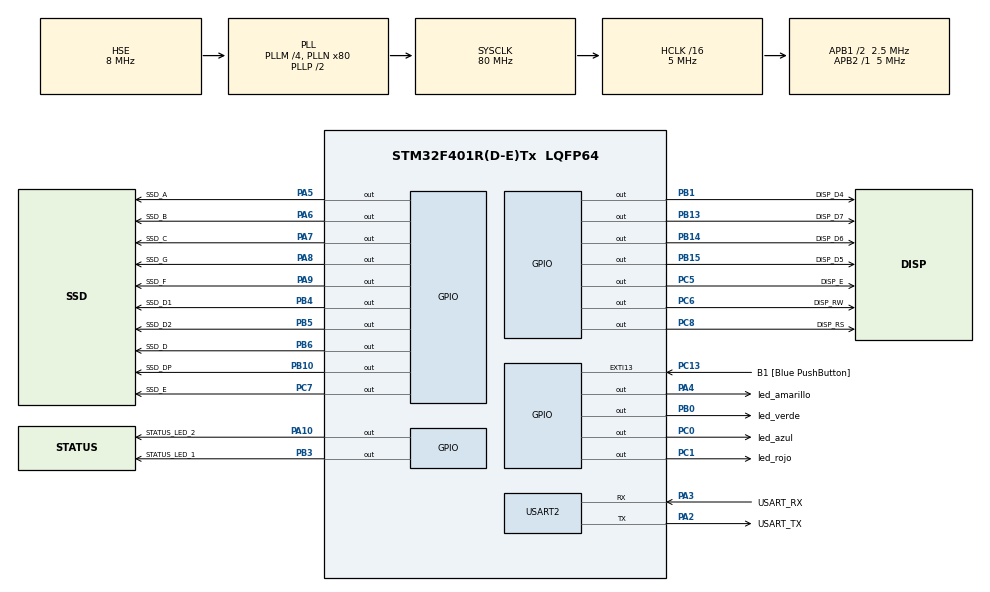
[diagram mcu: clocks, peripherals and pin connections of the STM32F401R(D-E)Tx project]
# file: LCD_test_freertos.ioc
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FREERTOS.Tasks01=defaultTask,24,128,StartDefaultTask,Default,NULL,Dynamic,NULL,NULL
Mcu.Family=STM32F4
Mcu.Name=STM32F401R(D-E)Tx
Mcu.Package=LQFP64
NVIC.PriorityGroup=NVIC_PRIORITYGROUP_4
NVIC.TIM1_UP_TIM10_IRQn=true\:15\:0\:false\:false\:true\:false\:false\:true\:true
NVIC.TimeBase=TIM1_UP_TIM10_IRQn
NVIC.TimeBaseIP=TIM1
PA10.GPIO_Label=STATUS_LED_2
PA10.Signal=GPIO_Output
PA13.GPIO_Label=TMS
PA13.Mode=Serial_Wire
PA13.Signal=SYS_JTMS-SWDIO
PA14.GPIO_Label=TCK
PA14.Mode=Serial_Wire
PA14.Signal=SYS_JTCK-SWCLK
PA2.GPIO_Label=USART_TX
PA2.GPIO_Mode=GPIO_MODE_AF_PP
PA2.GPIO_PuPd=GPIO_NOPULL
PA2.GPIO_Speed=GPIO_SPEED_FREQ_LOW
PA2.Mode=Asynchronous
PA2.Signal=USART2_TX
PA3.GPIO_Label=USART_RX
PA3.GPIO_Mode=GPIO_MODE_AF_PP
PA3.GPIO_PuPd=GPIO_NOPULL
PA3.GPIO_Speed=GPIO_SPEED_FREQ_LOW
PA3.Mode=Asynchronous
PA3.Signal=USART2_RX
PA4.GPIO_Label=led_amarillo
PA4.Signal=GPIO_Output
PA5.GPIO_Label=SSD_A
PA5.GPIO_Mode=GPIO_MODE_OUTPUT_PP
PA5.GPIO_PuPd=GPIO_NOPULL
PA5.GPIO_Speed=GPIO_SPEED_FREQ_LOW
PA5.Signal=GPIO_Output
PA6.GPIO_Label=SSD_B
PA6.Signal=GPIO_Output
PA7.GPIO_Label=SSD_C
PA7.Signal=GPIO_Output
PA8.GPIO_Label=SSD_G
PA8.Signal=GPIO_Output
PA9.GPIO_Label=SSD_F
PA9.Signal=GPIO_Output
PB0.GPIO_Label=led_verde
PB0.Signal=GPIO_Output
PB1.GPIO_Label=DISP_D4
PB1.Signal=GPIO_Output
PB10.GPIO_Label=SSD_DP
PB10.Signal=GPIO_Output
PB13.GPIO_Label=DISP_D7
PB13.Signal=GPIO_Output
PB14.GPIO_Label=DISP_D6
PB14.Signal=GPIO_Output
PB15.GPIO_Label=DISP_D5
PB15.Signal=GPIO_Output
PB3.GPIO_Label=STATUS_LED_1
PB3.Signal=GPIO_Output
PB4.GPIO_Label=SSD_D1
PB4.Signal=GPIO_Output
PB5.GPIO_Label=SSD_D2
PB5.Signal=GPIO_Output
PB6.GPIO_Label=SSD_D
PB6.Signal=GPIO_Output
PC0.GPIO_Label=led_azul
PC0.Signal=GPIO_Output
PC1.GPIO_Label=led_rojo
PC1.Signal=GPIO_Output
PC13-ANTI_TAMP.GPIO_Label=B1 [Blue PushButton]
PC13-ANTI_TAMP.GPIO_ModeDefaultEXTI=GPIO_MODE_IT_FALLING
PC13-ANTI_TAMP.GPIO_PuPd=GPIO_NOPULL
PC13-ANTI_TAMP.Signal=GPXTI13
PC14-OSC32_IN.Mode=LSE-External-Oscillator
PC14-OSC32_IN.Signal=RCC_OSC32_IN
PC15-OSC32_OUT.Mode=LSE-External-Oscillator
PC15-OSC32_OUT.Signal=RCC_OSC32_OUT
PC5.GPIO_Label=DISP_E
PC5.Signal=GPIO_Output
PC6.GPIO_Label=DISP_RW
PC6.Signal=GPIO_Output
PC7.GPIO_Label=SSD_E
PC7.Signal=GPIO_Output
PC8.GPIO_Label=DISP_RS
PC8.Signal=GPIO_Output
PH0\ -\ OSC_IN.Mode=HSE-External-Clock-Source
PH0\ -\ OSC_IN.Signal=RCC_OSC_IN
PH1\ -\ OSC_OUT.Mode=HSE-External-Clock-Source
PH1\ -\ OSC_OUT.Signal=RCC_OSC_OUT
ProjectManager.HeapSize=0x200
ProjectManager.StackSize=0x400
ProjectManager.TargetToolchain=STM32CubeIDE
RCC.48MHZClocksFreq_Value=22857142.85714286
RCC.AHBCLKDivider=RCC_SYSCLK_DIV16
RCC.AHBFreq_Value=5000000
RCC.APB1CLKDivider=RCC_HCLK_DIV2
RCC.APB1Freq_Value=2500000
RCC.APB1TimFreq_Value=5000000
RCC.APB2Freq_Value=5000000
RCC.APB2TimFreq_Value=5000000
RCC.CortexFreq_Value=5000000
RCC.HCLKFreq_Value=5000000
RCC.HSE_VALUE=8000000
RCC.HSI_VALUE=16000000
RCC.PLLM=4
RCC.PLLN=80
RCC.PLLQ=7
RCC.PLLSourceVirtual=RCC_PLLSOURCE_HSE
RCC.SYSCLKFreq_VALUE=80000000
RCC.SYSCLKSource=RCC_SYSCLKSOURCE_PLLCLK
RCC.VCOOutputFreq_Value=160000000
USART2.VirtualMode=VM_ASYNC
VP_FREERTOS_VS_CMSIS_V2.Mode=CMSIS_V2
VP_SYS_VS_tim1.Mode=TIM1
board=NUCLEO-F401RE

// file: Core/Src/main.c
/* USER CODE BEGIN Header */
/**
  ******************************************************************************
  * @file           : main.c
  * @brief          : Main program body
  ******************************************************************************
  * @attention
  *
  * Copyright (c) 2024 STMicroelectronics.
  * All rights reserved.
  *
  * This software is licensed under terms that can be found in the LICENSE file
  * in the root directory of this software component.
  * If no LICENSE file comes with this software, it is provided AS-IS.
  *
  ******************************************************************************
  */
/* USER CODE END Header */
#include "main.h"
#include "cmsis_os.h"

/* USER CODE BEGIN Includes */
#include "lcd.h"
#include "SevenSegmentDisplay.h"
/* USER CODE END Includes */

UART_HandleTypeDef huart2;

/* Definitions for defaultTask */
osThreadId_t defaultTaskHandle;
const osThreadAttr_t defaultTask_attributes = {
  .name = "defaultTask",
  .stack_size = 128 * 4,
  .priority = (osPriority_t) osPriorityNormal,
};
/* USER CODE BEGIN PV */
typedef uint32_t TaskProfiler_t ;

TaskProfiler_t 	a=0;
TaskProfiler_t	b=0;
TaskProfiler_t	c=0;
TaskProfiler_t	idleTaskProfiler=0;

//pointers of the led
//const uint16_t * Blue_led = (uint16_t *)led_1_Pin;
//const uint16_t * Red_led = (uint16_t *)led_2_Pin;
//const uint16_t * Green_led = (uint16_t *)led_3_Pin;
//const uint16_t * Orange_led =(uint16_t *) led_4_Pin;

const TickType_t _250ms = pdMS_TO_TICKS(250);
const TickType_t _100ms = pdMS_TO_TICKS(100);
const TickType_t _1000ms = pdMS_TO_TICKS(1000);
const TickType_t _50ms = pdMS_TO_TICKS(50);
const TickType_t _10ms = pdMS_TO_TICKS(10);
const TickType_t _2ms = pdMS_TO_TICKS(2);

typedef enum
{
	humidity_sensor,
	pressure_sensor
}DataSource_t;

typedef struct
{
	uint8_t ucValue;
	DataSource_t sDataSource;//source of the data
}Data_t;

static const Data_t xStrcutrToSend [2]=
{
		{77,humidity_sensor},//used by humidity sensor
		{63,pressure_sensor} // used by pressure sensor
};

QueueHandle_t sensorQueue,dispQueue_1,dispQueue_2;

/*LCD Variables*/

lcd_t lcd_1;
sevenSegment_t sevenSegmentDisplay;

/* USER CODE END PV */

void SystemClock_Config(void);
static void MX_GPIO_Init(void);
static void MX_USART2_UART_Init(void);
void StartDefaultTask(void *argument);

/* USER CODE BEGIN PFP */
void SerialUartSendString(char *ptr);
void HumidityTask(void *pvParameters);
void PressureTask(void *pvParameters);
void ReceiverTask(void *pvParameters);
void LedsController(void *pvParameters);
void SevenSegmentDisplay(void *pvParameters);
void sevenSegmentCounter(void *pvParameters);

/*lcd task*/
void MenuTask(void *pvParameters);

void SerialUartSendString(char *ptr);
TaskHandle_t hum_task_handle,press_task_handle,receiver_handle,ledsHandler;

/* USER CODE END PFP */

int main(void)
{

  /* MCU Configuration--------------------------------------------------------*/

  /* Reset of all peripherals, Initializes the Flash interface and the Systick. */
  HAL_Init();

  /* Configure the system clock */
  SystemClock_Config();

  /* Initialize all configured peripherals */
  MX_GPIO_Init();
  MX_USART2_UART_Init();

  /* Init scheduler */
  //osKernelInitialize();

  /* USER CODE BEGIN RTOS_QUEUES */
  /* add queues, ... */
  sensorQueue =xQueueCreate(3,sizeof(Data_t));
  dispQueue_1 = xQueueCreate(3,sizeof(uint8_t));
  dispQueue_2 = xQueueCreate(3,sizeof(uint8_t));
  /* USER CODE END RTOS_QUEUES */

  /* Create the thread(s) */
  /* creation of defaultTask */
  //defaultTaskHandle = osThreadNew(StartDefaultTask, NULL, &defaultTask_attributes);

  /* USER CODE BEGIN RTOS_THREADS */
  /* add threads, ... */
  //xTaskCreate(ReceiverTask, "Receive task", 800, NULL, 2, NULL);
  //xTaskCreate(HumidityTask, "Humidity Task", 800, (void *)&(xStrcutrToSend[0]), 2, NULL);
  //xTaskCreate(PressureTask, "Pressure task", 800, (void *)&(xStrcutrToSend[1]), 2, NULL);
  //xTaskCreate(LedsController1, "LedsController1", 200, NULL, 2, NULL);
 //xTaskCreate(LedsController2, "LedsController2", 200, NULL, 2, NULL);
  xTaskCreate(SevenSegmentDisplay, "SevenSegmentDisplayTask", 200, NULL, 2, NULL);
  xTaskCreate(LedsController, "LedsControllerTask", 200, NULL, 2, NULL);
  xTaskCreate(MenuTask, "Menu Task", 800, NULL, 2, NULL);
  xTaskCreate(sevenSegmentCounter, "sevenSegmentCounterTask", 200, NULL, 2, NULL);
  /* USER CODE END RTOS_THREADS */

  /* Start scheduler */
 // osKernelStart();

  /* We should never get here as control is now taken by the scheduler */
  /* Infinite loop */
  /* USER CODE BEGIN WHILE */
  vTaskStartScheduler();//star the scheduler

  while (1)
  {
    /* USER CODE END WHILE */

  }
}

void SystemClock_Config(void)
{
  RCC_OscInitTypeDef RCC_OscInitStruct = {0};
  RCC_ClkInitTypeDef RCC_ClkInitStruct = {0};

  /** Configure the main internal regulator output voltage
  */
  __HAL_RCC_PWR_CLK_ENABLE();
  __HAL_PWR_VOLTAGESCALING_CONFIG(PWR_REGULATOR_VOLTAGE_SCALE2);

  /** Initializes the RCC Oscillators according to the specified parameters
  * in the RCC_OscInitTypeDef structure.
  */
  RCC_OscInitStruct.OscillatorType = RCC_OSCILLATORTYPE_HSE;
  RCC_OscInitStruct.HSEState = RCC_HSE_BYPASS;
  RCC_OscInitStruct.PLL.PLLState = RCC_PLL_ON;
  RCC_OscInitStruct.PLL.PLLSource = RCC_PLLSOURCE_HSE;
  RCC_OscInitStruct.PLL.PLLM = 4;
  RCC_OscInitStruct.PLL.PLLN = 80;
  RCC_OscInitStruct.PLL.PLLP = RCC_PLLP_DIV2;
  RCC_OscInitStruct.PLL.PLLQ = 7;
  if (HAL_RCC_OscConfig(&RCC_OscInitStruct) != HAL_OK)
  {
    Error_Handler();
  }

  /** Initializes the CPU, AHB and APB buses clocks
  */
  RCC_ClkInitStruct.ClockType = RCC_CLOCKTYPE_HCLK|RCC_CLOCKTYPE_SYSCLK
                              |RCC_CLOCKTYPE_PCLK1|RCC_CLOCKTYPE_PCLK2;
  RCC_ClkInitStruct.SYSCLKSource = RCC_SYSCLKSOURCE_PLLCLK;
  RCC_ClkInitStruct.AHBCLKDivider = RCC_SYSCLK_DIV16;
  RCC_ClkInitStruct.APB1CLKDivider = RCC_HCLK_DIV2;
  RCC_ClkInitStruct.APB2CLKDivider = RCC_HCLK_DIV1;

  if (HAL_RCC_ClockConfig(&RCC_ClkInitStruct, FLASH_LATENCY_0) != HAL_OK)
  {
    Error_Handler();
  }
}

static void MX_USART2_UART_Init(void)
{

  huart2.Instance = USART2;
  huart2.Init.BaudRate = 115200;
  huart2.Init.WordLength = UART_WORDLENGTH_8B;
  huart2.Init.StopBits = UART_STOPBITS_1;
  huart2.Init.Parity = UART_PARITY_NONE;
  huart2.Init.Mode = UART_MODE_TX_RX;
  huart2.Init.HwFlowCtl = UART_HWCONTROL_NONE;
  huart2.Init.OverSampling = UART_OVERSAMPLING_16;
  if (HAL_UART_Init(&huart2) != HAL_OK)
  {
    Error_Handler();
  }

}

static void MX_GPIO_Init(void)
{
  GPIO_InitTypeDef GPIO_InitStruct = {0};

  /* GPIO Ports Clock Enable */
  __HAL_RCC_GPIOC_CLK_ENABLE();
  __HAL_RCC_GPIOH_CLK_ENABLE();
  __HAL_RCC_GPIOA_CLK_ENABLE();
  __HAL_RCC_GPIOB_CLK_ENABLE();

  /*Configure GPIO pin Output Level */
  HAL_GPIO_WritePin(GPIOC, led_azul_Pin|led_rojo_Pin|DISP_E_Pin|DISP_RW_Pin
                          |SSD_E_Pin|DISP_RS_Pin, GPIO_PIN_RESET);

  /*Configure GPIO pin Output Level */
  HAL_GPIO_WritePin(GPIOA, led_amarillo_Pin|SSD_A_Pin|SSD_B_Pin|SSD_C_Pin
                          |SSD_G_Pin|SSD_F_Pin|STATUS_LED_2_Pin, GPIO_PIN_RESET);

  /*Configure GPIO pin Output Level */
  HAL_GPIO_WritePin(GPIOB, led_verde_Pin|DISP_D4_Pin|SSD_DP_Pin|DISP_D7_Pin
                          |DISP_D6_Pin|DISP_D5_Pin|STATUS_LED_1_Pin|SSD_D1_Pin
                          |SSD_D2_Pin|SSD_D_Pin, GPIO_PIN_RESET);

  /*Configure GPIO pin : B1_Pin */
  GPIO_InitStruct.Pin = B1_Pin;
  GPIO_InitStruct.Mode = GPIO_MODE_IT_FALLING;
  GPIO_InitStruct.Pull = GPIO_NOPULL;
  HAL_GPIO_Init(B1_GPIO_Port, &GPIO_InitStruct);

  /*Configure GPIO pins : led_azul_Pin led_rojo_Pin DISP_E_Pin DISP_RW_Pin
                           SSD_E_Pin DISP_RS_Pin */
  GPIO_InitStruct.Pin = led_azul_Pin|led_rojo_Pin|DISP_E_Pin|DISP_RW_Pin
                          |SSD_E_Pin|DISP_RS_Pin;
  GPIO_InitStruct.Mode = GPIO_MODE_OUTPUT_PP;
  GPIO_InitStruct.Pull = GPIO_NOPULL;
  GPIO_InitStruct.Speed = GPIO_SPEED_FREQ_LOW;
  HAL_GPIO_Init(GPIOC, &GPIO_InitStruct);

  /*Configure GPIO pins : led_amarillo_Pin SSD_A_Pin SSD_B_Pin SSD_C_Pin
                           SSD_G_Pin SSD_F_Pin STATUS_LED_2_Pin */
  GPIO_InitStruct.Pin = led_amarillo_Pin|SSD_A_Pin|SSD_B_Pin|SSD_C_Pin
                          |SSD_G_Pin|SSD_F_Pin|STATUS_LED_2_Pin;
  GPIO_InitStruct.Mode = GPIO_MODE_OUTPUT_PP;
  GPIO_InitStruct.Pull = GPIO_NOPULL;
  GPIO_InitStruct.Speed = GPIO_SPEED_FREQ_LOW;
  HAL_GPIO_Init(GPIOA, &GPIO_InitStruct);

  /*Configure GPIO pins : led_verde_Pin DISP_D4_Pin SSD_DP_Pin DISP_D7_Pin
                           DISP_D6_Pin DISP_D5_Pin STATUS_LED_1_Pin SSD_D1_Pin
                           SSD_D2_Pin SSD_D_Pin */
  GPIO_InitStruct.Pin = led_verde_Pin|DISP_D4_Pin|SSD_DP_Pin|DISP_D7_Pin
                          |DISP_D6_Pin|DISP_D5_Pin|STATUS_LED_1_Pin|SSD_D1_Pin
                          |SSD_D2_Pin|SSD_D_Pin;
  GPIO_InitStruct.Mode = GPIO_MODE_OUTPUT_PP;
  GPIO_InitStruct.Pull = GPIO_NOPULL;
  GPIO_InitStruct.Speed = GPIO_SPEED_FREQ_LOW;
  HAL_GPIO_Init(GPIOB, &GPIO_InitStruct);

}

/* USER CODE BEGIN 4 */

void MenuTask(void *pvParameters)
{
	  lcd_1= lcd_create_4_bit(DISP_RS_GPIO_Port, DISP_RW_GPIO_Port, DISP_E_GPIO_Port,
	  								DISP_RS_Pin, DISP_RW_Pin, DISP_E_Pin,
	  								DISP_D7_GPIO_Port, DISP_D6_GPIO_Port, DISP_D5_GPIO_Port, DISP_D4_GPIO_Port,
	  								DISP_D7_Pin, DISP_D6_Pin, DISP_D5_Pin, DISP_D4_Pin, lcd_chr_16x2_mode);
	  	uint16_t contador=0;
	  	char buffer[20];
	  	lcd_init(&lcd_1);
	  	lcd_clear(&lcd_1);
	  	lcd_set_cursor(&lcd_1, 0, 0);
	  	lcd_print_string(&lcd_1, "Iniciando");
	  	vTaskDelay(_1000ms);
	  	lcd_clear(&lcd_1);

	  	lcd_set_cursor(&lcd_1, 0, 0);
	  	lcd_print_string(&lcd_1, "Ejemplo de");
	  	lcd_set_cursor(&lcd_1, 1, 0);
	  	lcd_print_string(&lcd_1, "FREERTOS");
	  	vTaskDelay(_1000ms);
	  	lcd_clear(&lcd_1);

	while(1)
	{
		lcd_set_cursor(&lcd_1, 0, 0);
		lcd_print_string(&lcd_1, "RTOS");
		//HAL_GPIO_TogglePin(led_azul_GPIO_Port,led_azul_Pin);
		contador++;
		sprintf(buffer,"Count:%05i",contador);
		lcd_set_cursor(&lcd_1, 1, 0);
		lcd_print_string(&lcd_1, buffer);
		vTaskDelay(_10ms);

	}

}

void HumidityTask(void *pvParameters)
{
	BaseType_t qstatus;

	while(1)
	{
		qstatus=xQueueSend(sensorQueue,pvParameters,_250ms);

		if(qstatus !=pdPASS)
		{
			//do something
		}

		vTaskDelay(_100ms);
	}
}
void PressureTask(void *pvParameters)
{
	BaseType_t qstatus;

	while(1)
	{
		qstatus=xQueueSend(sensorQueue,pvParameters,_250ms);

		if(qstatus !=pdPASS)
		{
			//do something
		}

		vTaskDelay(_50ms);
	}

}
void ReceiverTask(void *pvParameters) {

	BaseType_t qStatus;
	Data_t xReceiveDataBuffer;
	char buffer[100];
	while (1) {
		qStatus = xQueueReceive(sensorQueue, &xReceiveDataBuffer, _50ms);

		if (qStatus == pdPASS) {

			if(xReceiveDataBuffer.sDataSource==humidity_sensor)
			{
				SerialUartSendString("************************************\n");
				SerialUartSendString("Humidity Sensor:\n");
				SerialUartSendString("Queue received:\n");
							SerialUartSendString("uValue:");
							sprintf(buffer, "%i", xReceiveDataBuffer.ucValue);
							SerialUartSendString(buffer);
							SerialUartSendString("\n");
							SerialUartSendString("Source of Data:");
							sprintf(buffer, "%i", xReceiveDataBuffer.sDataSource);
							SerialUartSendString(buffer);
							SerialUartSendString("\r\n");
							SerialUartSendString("************************************\n");

			}

			if(xReceiveDataBuffer.sDataSource==pressure_sensor)
			{
				SerialUartSendString("************************************\n");
				SerialUartSendString("Pressure sensor:\n");
								SerialUartSendString("Queue received:\n");
											SerialUartSendString("uValue:");
											sprintf(buffer, "%i", xReceiveDataBuffer.ucValue);
											SerialUartSendString(buffer);
											SerialUartSendString("\n");
											SerialUartSendString("Source of Data:");
											sprintf(buffer, "%i", xReceiveDataBuffer.sDataSource);
											SerialUartSendString(buffer);
											SerialUartSendString("\r\n");
											SerialUartSendString("************************************\n");

			}

		}

		else {

			SerialUartSendString("Error\r\n");

		}

	}

}

void LedsController(void *pvParameters)
{

		while(1)
	{

			HAL_GPIO_WritePin(led_azul_GPIO_Port, led_azul_Pin, GPIO_PIN_SET);
			vTaskDelay(_100ms);
			HAL_GPIO_WritePin(led_amarillo_GPIO_Port, led_amarillo_Pin, GPIO_PIN_SET);
			vTaskDelay(_100ms);
			HAL_GPIO_WritePin(led_verde_GPIO_Port, led_verde_Pin, GPIO_PIN_SET);
			vTaskDelay(_100ms);
			HAL_GPIO_WritePin(led_rojo_GPIO_Port, led_rojo_Pin, GPIO_PIN_SET);
			vTaskDelay(_100ms);
			HAL_GPIO_WritePin(led_azul_GPIO_Port, led_azul_Pin, GPIO_PIN_RESET);
			vTaskDelay(_100ms);
			HAL_GPIO_WritePin(led_amarillo_GPIO_Port, led_amarillo_Pin, GPIO_PIN_RESET);
			vTaskDelay(_100ms);
			HAL_GPIO_WritePin(led_verde_GPIO_Port, led_verde_Pin, GPIO_PIN_RESET);
			vTaskDelay(_100ms);
			HAL_GPIO_WritePin(led_rojo_GPIO_Port, led_rojo_Pin, GPIO_PIN_RESET);
			vTaskDelay(_100ms);

	}

}
void sevenSegmentCounter(void *pvParameters)
{
	uint8_t counter_1=0;
	uint8_t counter_2=7;
	BaseType_t qstatus;
	while(1)
	{
		qstatus=xQueueSend(dispQueue_1,&counter_1,_10ms);
		qstatus=xQueueSend(dispQueue_2,&counter_2,_10ms);

		vTaskDelay(_50ms);
		counter_1++;
		counter_2++;
				if(counter_1>=9 )
				{

					counter_1=0;
				}

				if(counter_2>=9 )
				{

					counter_2=0;
				}

				vTaskDelay(_50ms);
				HAL_GPIO_TogglePin(STATUS_LED_1_GPIO_Port, STATUS_LED_1_Pin);

	}

}

void SevenSegmentDisplay(void *pvParameters)
{

	uint8_t value_received_1=0;
	uint8_t value_received_2=0;
	BaseType_t qstatus;
	sevenSegmentDisplay = SevenSegment_ctor(SSD_A_GPIO_Port, SSD_B_GPIO_Port, SSD_C_GPIO_Port,
			SSD_D_GPIO_Port, SSD_E_GPIO_Port, SSD_F_GPIO_Port,SSD_G_GPIO_Port, SSD_DP_GPIO_Port,
			SSD_D1_GPIO_Port, SSD_D2_GPIO_Port, SSD_A_Pin, SSD_B_Pin, SSD_C_Pin, SSD_D_Pin, SSD_E_Pin,
			SSD_F_Pin, SSD_G_Pin, SSD_DP_Pin, SSD_D1_Pin, SSD_D2_Pin, sevenSegmentCommonCathode, 10);

	while(1)
	{

		qstatus=xQueueReceive(dispQueue_1, &value_received_1, 0);

				if(qstatus == pdPASS)
				{

				}

				qstatus=xQueueReceive(dispQueue_2, &value_received_2, 0);
						if(qstatus == pdPASS)
						{

						}

		SevenSegmentDisplay_s1(&sevenSegmentDisplay, value_received_1);
		vTaskDelay(_2ms);
		SevenSegmentDisplay_off(&sevenSegmentDisplay);
		SevenSegmentDisplay_s2(&sevenSegmentDisplay, value_received_2);
		vTaskDelay(_2ms);
		SevenSegmentDisplay_off(&sevenSegmentDisplay);

	}

}

//create callback from
void vApplicationIdleHook(void)
{

idleTaskProfiler++;
}

void SerialUartSendString(char *ptr)
{
uint16_t DataLen = strlen(ptr);
HAL_UART_Transmit(&huart2, (const uint8_t *)ptr, DataLen, HAL_MAX_DELAY);
}

/* USER CODE END 4 */

void StartDefaultTask(void *argument)
{
  for(;;)
  {
    osDelay(1);
  }
}

void HAL_TIM_PeriodElapsedCallback(TIM_HandleTypeDef *htim)
{
  if (htim->Instance == TIM1) {
    HAL_IncTick();
  }
}

void Error_Handler(void)
{
  __disable_irq();
  while (1)
  {
  }
}
